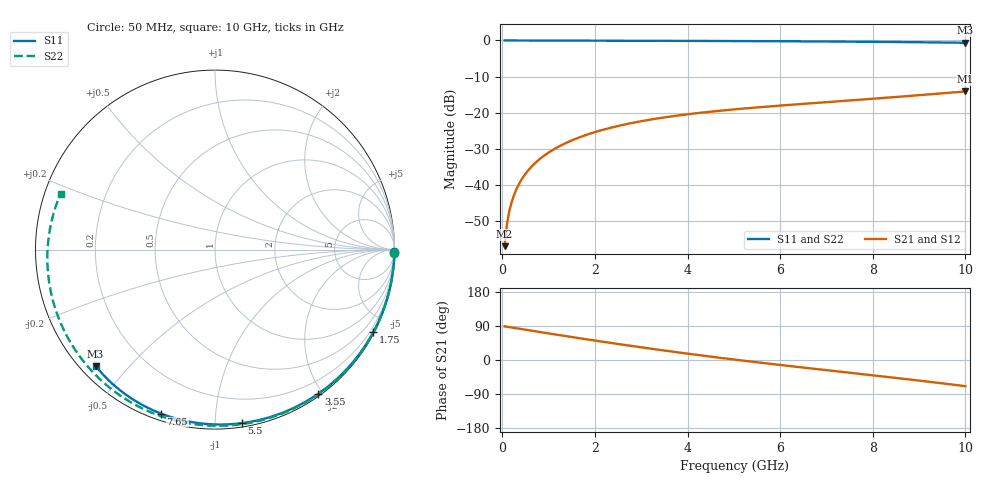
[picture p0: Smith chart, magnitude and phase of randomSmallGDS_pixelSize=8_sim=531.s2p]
! freq	dB(S11)	phase(S11)	dB(S12)	phase(S12)
!  dB(S21)	phase(S21)	dB(S22)	phase(S22)
!S-par simulation data
#  GHz  S  DB  R 50
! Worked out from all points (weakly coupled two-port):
!   200 points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, 50 MHz to 10 GHz, reference 50 ohm
!   highest |S21| = -14.09 dB at 10 GHz (marker M1); lowest = -56.8 dB at 50 MHz (marker M2)
!   lowest |S11| = -0.6 dB at 10 GHz (marker M3), VSWR 27.03, Z = 2.15 - j20.3 ohm
!   |S11| at or under -10 dB: nowhere
!   |S22| runs from -0.8 to 0.0 dB; largest |S21 - S12| = 0
!   S11 on the Smith chart (normalised r, x): 50 MHz: open; 1.75 GHz: 0.05, -4.08; 3.55 GHz: 0.03, -1.95; 5.5 GHz: 0.03, -1.17; 7.65 GHz: 0.03, -0.72; 10 GHz: 0.04, -0.41
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0.05  -0.00 -0.8  -56.84 88.8  -56.84 88.8  -0.00 -1.2
0.1  -0.00 -1.6  -50.79 87.7  -50.79 87.7  -0.00 -2.4
0.15  -0.00 -2.4  -47.24 86.8  -47.24 86.8  -0.00 -3.5
0.2  -0.00 -3.2  -44.75 85.9  -44.75 85.9  -0.01 -4.7
0.25  -0.01 -4.0  -42.82 85.0  -42.82 85.0  -0.01 -5.9
0.35  -0.01 -5.6  -39.92 83.0  -39.92 83.0  -0.01 -8.2
0.5  -0.01 -8.0  -36.86 79.9  -36.86 79.9  -0.02 -11.7
0.7  -0.02 -11.1  -33.98 76.0  -33.98 76.0  -0.02 -16.4
1  -0.02 -15.8  -30.97 70.1  -30.97 70.1  -0.03 -23.3
1.35  -0.03 -21.3  -28.47 63.4  -28.47 63.4  -0.05 -31.3
1.75  -0.04 -27.5  -26.37 55.9  -26.37 55.9  -0.06 -40.3
2.6  -0.07 -40.4  -23.33 40.4  -23.33 40.4  -0.09 -58.9
3.4  -0.10 -52.2  -21.45 26.6  -21.45 26.6  -0.13 -75.6
3.55  -0.10 -54.4  -21.16 24.1  -21.16 24.1  -0.13 -78.7
4.3  -0.13 -65.0  -19.95 12.0  -19.95 12.0  -0.17 -93.5
5.05  -0.17 -75.2  -18.99 0.6  -18.99 0.6  -0.21 -107.8
5.5  -0.19 -81.2  -18.50 -6.0  -18.50 -6.0  -0.24 -116.1
6.7  -0.26 -96.6  -17.33 -22.8  -17.33 -22.8  -0.33 -137.8
7.65  -0.34 -108.2  -16.44 -35.6  -16.44 -35.6  -0.43 -154.9
8.35  -0.41 -116.6  -15.77 -45.1  -15.77 -45.1  -0.51 -167.7
9.2  -0.52 -126.5  -14.91 -57.1  -14.91 -57.1  -0.63 176.2
10  -0.64 -135.8  -14.09 -69.1  -14.09 -69.1  -0.77 160.0
